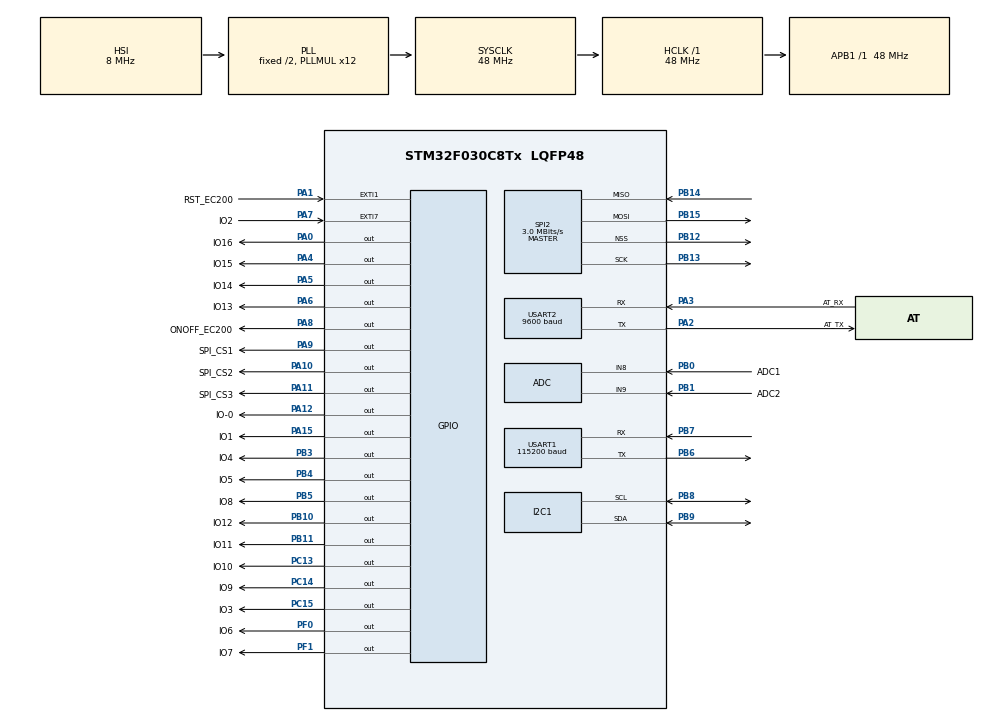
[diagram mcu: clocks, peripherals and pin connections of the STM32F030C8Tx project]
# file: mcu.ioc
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Dma.Request0=USART1_RX
Dma.Request1=USART2_RX
Dma.USART1_RX.0.Direction=DMA_PERIPH_TO_MEMORY
Dma.USART1_RX.0.Instance=DMA1_Channel3
Dma.USART1_RX.0.MemDataAlignment=DMA_MDATAALIGN_BYTE
Dma.USART1_RX.0.MemInc=DMA_MINC_ENABLE
Dma.USART1_RX.0.Mode=DMA_NORMAL
Dma.USART1_RX.0.PeriphDataAlignment=DMA_PDATAALIGN_BYTE
Dma.USART1_RX.0.PeriphInc=DMA_PINC_DISABLE
Dma.USART1_RX.0.Priority=DMA_PRIORITY_LOW
Dma.USART2_RX.1.Direction=DMA_PERIPH_TO_MEMORY
Dma.USART2_RX.1.Instance=DMA1_Channel5
Dma.USART2_RX.1.MemDataAlignment=DMA_MDATAALIGN_BYTE
Dma.USART2_RX.1.MemInc=DMA_MINC_ENABLE
Dma.USART2_RX.1.Mode=DMA_NORMAL
Dma.USART2_RX.1.PeriphDataAlignment=DMA_PDATAALIGN_BYTE
Dma.USART2_RX.1.PeriphInc=DMA_PINC_DISABLE
Dma.USART2_RX.1.Priority=DMA_PRIORITY_LOW
IWDG.Prescaler=IWDG_PRESCALER_256
Mcu.Family=STM32F0
Mcu.Name=STM32F030C8Tx
Mcu.Package=LQFP48
NVIC.EXTI0_1_IRQn=true\:0\:0\:false\:true\:true\:3\:true\:false
NVIC.EXTI4_15_IRQn=true\:0\:0\:false\:true\:true\:4\:true\:false
NVIC.I2C1_IRQn=true\:0\:0\:false\:true\:true\:1\:true\:false
NVIC.TIM3_IRQn=true\:0\:0\:false\:true\:true\:2\:true\:false
NVIC.USART1_IRQn=true\:0\:0\:false\:true\:true\:5\:true\:true
NVIC.USART2_IRQn=true\:0\:0\:false\:true\:true\:6\:true\:true
PA0.GPIO_Label=IO16
PA0.Signal=GPIO_Output
PA1.GPIO_Label=RST_EC200
PA1.GPIO_ModeDefaultEXTI=GPIO_MODE_IT_FALLING
PA1.GPIO_PuPd=GPIO_PULLUP
PA1.Signal=GPXTI1
PA10.GPIO_Label=SPI_CS2
PA10.Signal=GPIO_Output
PA11.GPIO_Label=SPI_CS3
PA11.Signal=GPIO_Output
PA12.GPIO_Label=IO-0
PA12.Signal=GPIO_Output
PA13.Mode=Serial_Wire
PA13.Signal=SYS_SWDIO
PA14.Mode=Serial_Wire
PA14.Signal=SYS_SWCLK
PA15.GPIO_Label=IO1
PA15.Signal=GPIO_Output
PA2.GPIO_Label=AT_TX
PA2.Mode=Asynchronous
PA2.Signal=USART2_TX
PA3.GPIO_Label=AT_RX
PA3.Mode=Asynchronous
PA3.Signal=USART2_RX
PA4.GPIO_Label=IO15
PA4.Signal=GPIO_Output
PA5.GPIO_Label=IO14
PA5.Signal=GPIO_Output
PA6.GPIO_Label=IO13
PA6.Signal=GPIO_Output
PA7.GPIO_Label=IO2
PA7.GPIO_ModeDefaultEXTI=GPIO_MODE_IT_FALLING
PA7.GPIO_PuPd=GPIO_PULLUP
PA7.Signal=GPXTI7
PA8.GPIO_Label=ONOFF_EC200
PA8.Signal=GPIO_Output
PA9.GPIO_Label=SPI_CS1
PA9.Signal=GPIO_Output
PB0.GPIO_Label=ADC1
PB0.Mode=IN8
PB0.Signal=ADC_IN8
PB1.GPIO_Label=ADC2
PB1.Mode=IN9
PB1.Signal=ADC_IN9
PB10.GPIO_Label=IO12
PB10.Signal=GPIO_Output
PB11.GPIO_Label=IO11
PB11.Signal=GPIO_Output
PB12.Mode=NSS_Signal_Hard_Output
PB12.Signal=SPI2_NSS
PB13.Mode=Full_Duplex_Master
PB13.Signal=SPI2_SCK
PB14.Mode=Full_Duplex_Master
PB14.Signal=SPI2_MISO
PB15.Mode=Full_Duplex_Master
PB15.Signal=SPI2_MOSI
PB3.GPIO_Label=IO4
PB3.Signal=GPIO_Output
PB4.GPIO_Label=IO5
PB4.Signal=GPIO_Output
PB5.GPIO_Label=IO8
PB5.Signal=GPIO_Output
PB6.Mode=Asynchronous
PB6.Signal=USART1_TX
PB7.Mode=Asynchronous
PB7.Signal=USART1_RX
PB8.Mode=I2C
PB8.Signal=I2C1_SCL
PB9.Mode=I2C
PB9.Signal=I2C1_SDA
PC13.GPIO_Label=IO10
PC13.Signal=GPIO_Output
PC14-OSC32_IN.GPIO_Label=IO9
PC14-OSC32_IN.Signal=GPIO_Output
PC15-OSC32_OUT.GPIO_Label=IO3
PC15-OSC32_OUT.Signal=GPIO_Output
PF0-OSC_IN.GPIO_Label=IO6
PF0-OSC_IN.Signal=GPIO_Output
PF1-OSC_OUT.GPIO_Label=IO7
PF1-OSC_OUT.Signal=GPIO_Output
ProjectManager.HeapSize=0x200
ProjectManager.StackSize=0x400
ProjectManager.TargetToolchain=SW4STM32
RCC.AHBFreq_Value=48000000
RCC.APB1Freq_Value=48000000
RCC.APB1TimFreq_Value=48000000
RCC.HCLKFreq_Value=48000000
RCC.PLLMUL=RCC_PLL_MUL12
RCC.SYSCLKFreq_VALUE=48000000
RCC.SYSCLKSource=RCC_SYSCLKSOURCE_PLLCLK
SPI2.BaudRatePrescaler=SPI_BAUDRATEPRESCALER_16
SPI2.CalculateBaudRate=3.0 MBits/s
SPI2.Direction=SPI_DIRECTION_2LINES
SPI2.Mode=SPI_MODE_MASTER
SPI2.VirtualNSS=VM_NSSHARD
SPI2.VirtualType=VM_MASTER
TIM3.Period=999
TIM3.Prescaler=48
USART1.BaudRate=115200
USART1.VirtualMode-Asynchronous=VM_ASYNC
USART2.BaudRate=9600
USART2.VirtualMode-Asynchronous=VM_ASYNC
VP_IWDG_VS_IWDG.Mode=IWDG_Activate
VP_TIM3_VS_ClockSourceINT.Mode=Internal
board=custom

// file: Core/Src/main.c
/* USER CODE BEGIN Header */
/**
  ******************************************************************************
  * @file           : main.c
  * @brief          : Main program body
  ******************************************************************************
  * @attention
  *
  * <h2><center>&copy; Copyright (c) 2022 STMicroelectronics.
  * All rights reserved.</center></h2>
  *
  * This software component is licensed by ST under BSD 3-Clause license,
  * the "License"; You may not use this file except in compliance with the
  * License. You may obtain a copy of the License at:
  *                        opensource.org/licenses/BSD-3-Clause
  *
  ******************************************************************************
  */
/* USER CODE END Header */
#include "main.h"
#include "adc.h"
#include "dma.h"
#include "i2c.h"
#include "iwdg.h"
#include "spi.h"
#include "tim.h"
#include "usart.h"
#include "gpio.h"

/* USER CODE BEGIN Includes */
#include "global.h"
#include "myOS.h"
#include "stdio.h"
/* USER CODE END Includes */

/* USER CODE BEGIN PTD */
//寄存器版本
#ifdef __GNUC__
#define PUTCHAR_PROTOTYPE int __io_putchar(int ch)
#else
#define PUTCHAR_PROTOTYPE int fputc(int ch, FILE *f)
#endif

PUTCHAR_PROTOTYPE {
    HAL_UART_Transmit(&huart2, (uint8_t *) &ch, 1, 0xffff);
    return ch;
}

/* USER CODE END PTD */

void SystemClock_Config(void);
static void MX_NVIC_Init(void);

int main(void)
{
  /* USER CODE BEGIN 1 */
  //设置中断服务向量表···················
    memcpy((void*)0x20000000, (void*)0x08004000, 48*4);
    SYSCFG->CFGR1 |= 0x03;
    __enable_irq();
  /* USER CODE END 1 */

  /* MCU Configuration--------------------------------------------------------*/

  /* Reset of all peripherals, Initializes the Flash interface and the Systick. */
  HAL_Init();

  /* Configure the system clock */
  SystemClock_Config();

  /* Initialize all configured peripherals */
  MX_GPIO_Init();
  MX_DMA_Init();
  MX_ADC_Init();
  MX_I2C1_Init();
  MX_SPI2_Init();
  MX_USART1_UART_Init();
  MX_USART2_UART_Init();
  MX_IWDG_Init();
  MX_TIM3_Init();

  /* Initialize interrupts */
  MX_NVIC_Init();
  /* USER CODE BEGIN 2 */
    HAL_TIM_Base_Start_IT(&htim3);
		__HAL_UART_ENABLE_IT(&huart1, UART_IT_IDLE);
    __HAL_UART_ENABLE_IT(&huart2, UART_IT_IDLE);
    HAL_UART_Receive_DMA(&huart2, boardsRecBuff, BOARDS_REC_LEN);
    HAL_UART_Receive_DMA(&huart1, msgRecBuff, MSG_REC_LEN);

    DBG_PRINTF("hello world\r\n");
    HAL_Delay(200);
  /* USER CODE END 2 */

  /* Infinite loop */
    while (1) {

    /* USER CODE BEGIN 3 */
			PeachOSRun();
    }
  /* USER CODE END 3 */
}

void SystemClock_Config(void)
{
  RCC_OscInitTypeDef RCC_OscInitStruct = {0};
  RCC_ClkInitTypeDef RCC_ClkInitStruct = {0};
  RCC_PeriphCLKInitTypeDef PeriphClkInit = {0};

  /** Initializes the RCC Oscillators according to the specified parameters
  * in the RCC_OscInitTypeDef structure.
  */
  RCC_OscInitStruct.OscillatorType = RCC_OSCILLATORTYPE_HSI|RCC_OSCILLATORTYPE_HSI14
                              |RCC_OSCILLATORTYPE_LSI;
  RCC_OscInitStruct.HSIState = RCC_HSI_ON;
  RCC_OscInitStruct.HSI14State = RCC_HSI14_ON;
  RCC_OscInitStruct.HSICalibrationValue = RCC_HSICALIBRATION_DEFAULT;
  RCC_OscInitStruct.HSI14CalibrationValue = 16;
  RCC_OscInitStruct.LSIState = RCC_LSI_ON;
  RCC_OscInitStruct.PLL.PLLState = RCC_PLL_ON;
  RCC_OscInitStruct.PLL.PLLSource = RCC_PLLSOURCE_HSI;
  RCC_OscInitStruct.PLL.PLLMUL = RCC_PLL_MUL12;
  RCC_OscInitStruct.PLL.PREDIV = RCC_PREDIV_DIV1;
  if (HAL_RCC_OscConfig(&RCC_OscInitStruct) != HAL_OK)
  {
    Error_Handler();
  }
  /** Initializes the CPU, AHB and APB buses clocks
  */
  RCC_ClkInitStruct.ClockType = RCC_CLOCKTYPE_HCLK|RCC_CLOCKTYPE_SYSCLK
                              |RCC_CLOCKTYPE_PCLK1;
  RCC_ClkInitStruct.SYSCLKSource = RCC_SYSCLKSOURCE_PLLCLK;
  RCC_ClkInitStruct.AHBCLKDivider = RCC_SYSCLK_DIV1;
  RCC_ClkInitStruct.APB1CLKDivider = RCC_HCLK_DIV1;

  if (HAL_RCC_ClockConfig(&RCC_ClkInitStruct, FLASH_LATENCY_1) != HAL_OK)
  {
    Error_Handler();
  }
  PeriphClkInit.PeriphClockSelection = RCC_PERIPHCLK_USART1|RCC_PERIPHCLK_I2C1;
  PeriphClkInit.Usart1ClockSelection = RCC_USART1CLKSOURCE_PCLK1;
  PeriphClkInit.I2c1ClockSelection = RCC_I2C1CLKSOURCE_HSI;
  if (HAL_RCCEx_PeriphCLKConfig(&PeriphClkInit) != HAL_OK)
  {
    Error_Handler();
  }
}

/**
  * @brief NVIC Configuration.
  * @retval None
  */
static void MX_NVIC_Init(void)
{
  /* I2C1_IRQn interrupt configuration */
  HAL_NVIC_SetPriority(I2C1_IRQn, 0, 0);
  HAL_NVIC_EnableIRQ(I2C1_IRQn);
  /* TIM3_IRQn interrupt configuration */
  HAL_NVIC_SetPriority(TIM3_IRQn, 0, 0);
  HAL_NVIC_EnableIRQ(TIM3_IRQn);
  /* EXTI0_1_IRQn interrupt configuration */
  HAL_NVIC_SetPriority(EXTI0_1_IRQn, 0, 0);
  HAL_NVIC_EnableIRQ(EXTI0_1_IRQn);
  /* EXTI4_15_IRQn interrupt configuration */
  HAL_NVIC_SetPriority(EXTI4_15_IRQn, 0, 0);
  HAL_NVIC_EnableIRQ(EXTI4_15_IRQn);
  /* USART1_IRQn interrupt configuration */
  HAL_NVIC_SetPriority(USART1_IRQn, 0, 0);
  HAL_NVIC_EnableIRQ(USART1_IRQn);
  /* USART2_IRQn interrupt configuration */
  HAL_NVIC_SetPriority(USART2_IRQn, 0, 0);
  HAL_NVIC_EnableIRQ(USART2_IRQn);
}

void Error_Handler(void)
{
}

/************************ (C) COPYRIGHT STMicroelectronics *****END OF FILE****/
